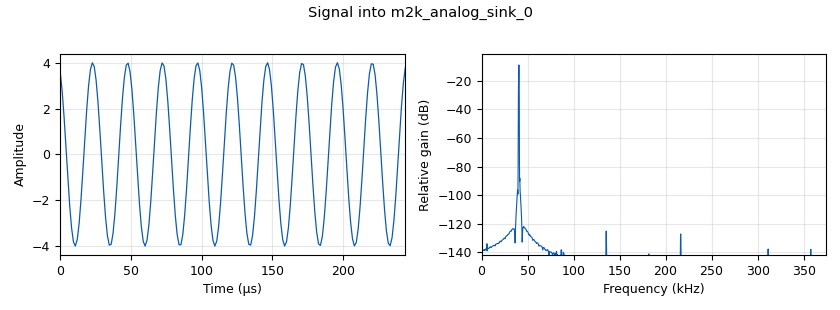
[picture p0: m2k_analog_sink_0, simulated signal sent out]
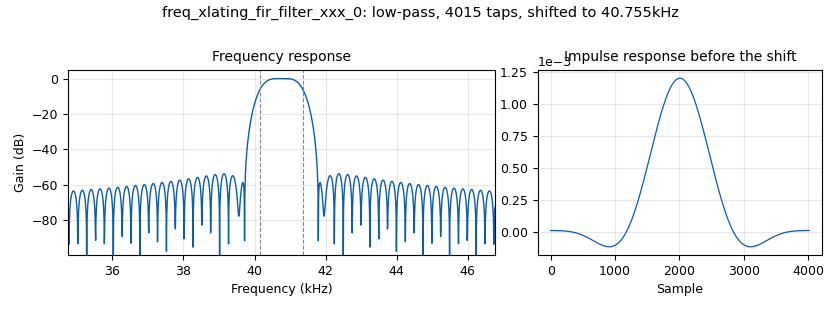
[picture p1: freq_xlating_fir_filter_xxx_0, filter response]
options:
  parameters:
    author: GRCon26 workshop
    comment: |-
      W1 -> TX +, TX - -> GND.  RX + -> 1+, RX - and 1- -> GND.
      Input range high (+/-2.5 V). Point the two transducers at each other.

      The tones are the MEASURED resonance, 40.755 kHz, not the 40 kHz on the
      part. The pair is only 1023 Hz wide at -6 dB, so 40.0 kHz loses about
      10 dB and shows up as a bad demodulator rather than a bad frequency.
      We swept the pair on the bench, and that is what f0 came from.

      Transmit is 750 kS/s and receive is 1 MS/s, and they are not the same
      number by accident: the DAC counts down from 75 MS/s and the ADC from
      100 MS/s, so the two ladders never meet. Anything that assumes one
      samp_rate for both directions is wrong here. That is the lesson.

      The receiver decimates by 200 before it demodulates. 1 MS/s against a
      1023 Hz channel is almost all empty spectrum; 5 kS/s still leaves 25
      samples per bit.

      Byte alignment comes from the sync word, not from luck. The capture
      starts wherever it starts, so Correlate Access Code tags the bit after
      the code and Tagged Stream Align drops everything before that tag.
    description: Ultrasonic FSK over the air on an M2K - 200 baud at 40.755 kHz, decoded back to bytes.
    generate_options: qt_gui
    id: m2k_ultrasonic_fsk
    output_language: python
    title: M2K ultrasonic FSK - W1 to a 40 kHz pair, 1+ back
  states: {}

blocks:
- name: access_code
  id: variable
  parameters:
    comment: 0x1ACFFC1D, the CCSDS sync marker.
    value: '''00011010110011111111110000011101'''
  states: {}
- name: amplitude
  id: variable
  parameters:
    comment: Volts into the transducer. W1 stops at +/-5.
    value: '4.0'
  states: {}
- name: baud
  id: variable
  parameters:
    value: '200'
  states: {}
- name: bitlen
  id: variable
  parameters:
    value: 1.0/baud
  states: {}
- name: code_bytes
  id: variable
  parameters:
    value: '[0x1a, 0xcf, 0xfc, 0x1d]'
  states: {}
- name: f0
  id: variable
  parameters:
    comment: Measured 2026-09-09, not the datasheet's 40 kHz.
    value: '40755.0'
  states: {}
- name: fmark
  id: variable
  parameters:
    value: f0 + spacing/2
  states: {}
- name: frame
  id: variable
  parameters:
    comment: Sync word, then the payload. This is what goes on the air.
    value: code_bytes + [ord(c) for c in str(message)[:msg_capacity].ljust(msg_capacity)]
  states: {}
- name: frame_len
  id: variable
  parameters:
    value: len(code_bytes) + msg_capacity
  states: {}
- name: fspace
  id: variable
  parameters:
    value: f0 - spacing/2
  states: {}
- name: message
  id: variable_qtgui_entry
  parameters:
    comment: Type here while it runs. Padded or cut to msg_capacity.
    entry_signal: returnPressed
    label: Message
    type: string
    value: '''GRCON26'''
  states: {}
- name: msg_capacity
  id: variable
  parameters:
    comment: Fixed, so the frame length never moves.
    value: '8'
  states: {}
- name: rx_decim
  id: variable
  parameters:
    value: '200'
  states: {}
- name: rx_rate
  id: variable
  parameters:
    comment: The ADC ladder, 100 MS/s / 100. Not the same number.
    value: '1000000'
  states: {}
- name: spacing
  id: variable
  parameters:
    value: '600.0'
  states: {}
- name: sps
  id: variable
  parameters:
    comment: Samples per bit coming back. 25, not 3750.
    value: sym_rate*bitlen
  states: {}
- name: sym_rate
  id: variable
  parameters:
    comment: 5 kS/s after the filter.
    value: rx_rate/rx_decim
  states: {}
- name: tx_rate
  id: variable
  parameters:
    comment: The DAC ladder, 75 MS/s / 100.
    value: '750000'
  states: {}
- name: tx_repeat
  id: variable
  parameters:
    comment: Samples per bit going out. 3750.
    value: int(round(tx_rate*bitlen))
  states: {}
- name: uri
  id: variable
  parameters:
    value: '''ip:192.168.2.1'''
  states: {}
- name: analog_quadrature_demod_cf_0
  id: analog_quadrature_demod_cf
  parameters:
    comment: Space lands at -1, mark at +1, so the slicer threshold is 0.
    gain: sym_rate/(2*math.pi*(spacing/2))
  states: {}
- name: blocks_add_const_vxx_0
  id: blocks_add_const_vxx
  parameters:
    const: fspace/fmark
    type: float
  states: {}
- name: blocks_keep_m_in_n_0
  id: blocks_keep_m_in_n
  parameters:
    comment: Keep the payload, drop the next frame's sync word.
    m: msg_capacity
    n: frame_len
    offset: '0'
    type: byte
  states: {}
- name: blocks_message_debug_0
  id: blocks_message_debug
  parameters:
    comment: One line per message. The hex is the payload that came back.
  states: {}
- name: blocks_multiply_const_vxx_0
  id: blocks_multiply_const_vxx
  parameters:
    comment: 0 and 1 onto fspace/fmark and fmark/fmark, so the VCO lands on the tones.
    const: (fmark - fspace)/fmark
    type: float
  states: {}
- name: blocks_pack_k_bits_bb_0
  id: blocks_pack_k_bits_bb
  parameters:
    k: '8'
  states: {}
- name: blocks_repeat_0
  id: blocks_repeat
  parameters:
    comment: Hold each bit for one bit period, at the TX rate.
    interp: tx_repeat
    type: byte
  states: {}
- name: blocks_stream_to_tagged_stream_0
  id: blocks_stream_to_tagged_stream
  parameters:
    len_tag_key: '"packet_len"'
    packet_len: msg_capacity
    type: byte
  states: {}
- name: blocks_tag_gate_0
  id: blocks_tag_gate
  parameters:
    propagate_tags: 'False'
    single_key: '"packet_len"'
    type: float
  states: {}
- name: blocks_tagged_stream_align_0
  id: blocks_tagged_stream_align
  parameters:
    comment: Drop everything before the first tag. From here on, bit 0 is byte 0.
    lengthtagname: sync
    type: byte
  states: {}
- name: blocks_uchar_to_float_0
  id: blocks_uchar_to_float
  parameters: {}
  states: {}
- name: blocks_unpack_k_bits_bb_0
  id: blocks_unpack_k_bits_bb
  parameters:
    comment: Bytes to bits, MSB first.
    k: '8'
  states: {}
- name: blocks_vco_f_0
  id: blocks_vco_f
  parameters:
    amplitude: amplitude
    comment: Sensitivity 2*pi*fmark makes the output frequency fmark * input.
    samp_rate: tx_rate
    sensitivity: 2*math.pi*fmark
  states: {}
- name: blocks_vector_source_x_0
  id: blocks_vector_source_x
  parameters:
    repeat: 'True'
    type: byte
    vector: frame
  states: {}
- name: digital_binary_slicer_fb_0
  id: digital_binary_slicer_fb
  parameters: {}
  states: {}
- name: digital_correlate_access_code_tag_xx_0
  id: digital_correlate_access_code_tag_xx
  parameters:
    access_code: access_code
    comment: Tags the bit AFTER the code. Threshold 0 - no bit errors allowed in the sync word.
    tagname: sync
    threshold: '0'
    type: byte
  states: {}
- name: digital_symbol_sync_xx_0
  id: digital_symbol_sync_xx
  parameters:
    comment: 25 samples per bit down to 1. The capture starts mid-bit; this finds the phase.
    damping: '1.0'
    loop_bw: '0.045'
    max_dev: '1.5'
    osps: '1'
    resamp_type: digital.IR_MMSE_8TAP
    sps: sps
    ted_gain: '1.0'
    ted_type: digital.TED_ZERO_CROSSING
    type: ff
  states: {}
- name: freq_xlating_fir_filter_xxx_0
  id: freq_xlating_fir_filter_xxx
  parameters:
    center_freq: f0
    comment: Mix f0 to zero and decimate to 5 kS/s. Taps are designed at the INPUT rate.
    decim: rx_decim
    samp_rate: rx_rate
    taps: firdes.low_pass(1.0, rx_rate, 600.0, 600.0)
    type: fcf
  states: {}
- name: m2k_analog_sink_0
  id: m2k_analog_sink
  parameters:
    buffer_size: '65536'
    comment: Not cyclic. Streaming holds at 750 kS/s with a 64k buffer.
    cyclic: 'False'
    output: '''w1'''
    sample_rate: '750000'
    units: '''volts'''
    uri: uri
  states: {}
- name: m2k_analog_source_0
  id: m2k_analog_source
  parameters:
    buffer_size: '16384'
    ch1_enabled: 'True'
    ch1_range: '''high'''
    ch2_enabled: 'False'
    ch2_range: '''low'''
    comment: Free-running. An armed trigger that times out ends the source for good.
    sample_rate: '1000000'
    trigger_edge: '''edge-rising'''
    trigger_level: '0.5'
    trigger_source: '''off'''
    units: '''volts'''
    uri: uri
  states: {}
- name: pdu_tagged_stream_to_pdu_0
  id: pdu_tagged_stream_to_pdu
  parameters:
    tag: packet_len
    type: byte
  states: {}
- name: qtgui_freq_sink_x_0
  id: qtgui_freq_sink_x
  parameters:
    bw: rx_rate
    fc: '0'
    fftsize: '8192'
    grid: 'True'
    name: '"Captured on 1+ (volts)"'
    type: float
  states: {}
- name: qtgui_time_sink_x_0
  id: qtgui_time_sink_x
  parameters:
    autoscale: 'True'
    grid: 'True'
    name: '"Demodulated, before timing recovery"'
    size: '1000'
    srate: sym_rate
    type: float
    ylabel: Space -1, mark +1
  states: {}

connections:
- [analog_quadrature_demod_cf_0, '0', digital_symbol_sync_xx_0, '0']
- [analog_quadrature_demod_cf_0, '0', qtgui_time_sink_x_0, '0']
- [blocks_add_const_vxx_0, '0', blocks_vco_f_0, '0']
- [blocks_keep_m_in_n_0, '0', blocks_stream_to_tagged_stream_0, '0']
- [blocks_multiply_const_vxx_0, '0', blocks_add_const_vxx_0, '0']
- [blocks_pack_k_bits_bb_0, '0', blocks_keep_m_in_n_0, '0']
- [blocks_repeat_0, '0', blocks_uchar_to_float_0, '0']
- [blocks_stream_to_tagged_stream_0, '0', pdu_tagged_stream_to_pdu_0, '0']
- [blocks_tag_gate_0, '0', freq_xlating_fir_filter_xxx_0, '0']
- [blocks_tagged_stream_align_0, '0', blocks_pack_k_bits_bb_0, '0']
- [blocks_uchar_to_float_0, '0', blocks_multiply_const_vxx_0, '0']
- [blocks_unpack_k_bits_bb_0, '0', blocks_repeat_0, '0']
- [blocks_vco_f_0, '0', m2k_analog_sink_0, '0']
- [blocks_vector_source_x_0, '0', blocks_unpack_k_bits_bb_0, '0']
- [digital_binary_slicer_fb_0, '0', digital_correlate_access_code_tag_xx_0, '0']
- [digital_correlate_access_code_tag_xx_0, '0', blocks_tagged_stream_align_0, '0']
- [digital_symbol_sync_xx_0, '0', digital_binary_slicer_fb_0, '0']
- [freq_xlating_fir_filter_xxx_0, '0', analog_quadrature_demod_cf_0, '0']
- [m2k_analog_source_0, '0', blocks_tag_gate_0, '0']
- [m2k_analog_source_0, '0', qtgui_freq_sink_x_0, '0']
- [pdu_tagged_stream_to_pdu_0, pdus, blocks_message_debug_0, print]

metadata:
  file_format: 1
  grc_version: 3.10.9.2
